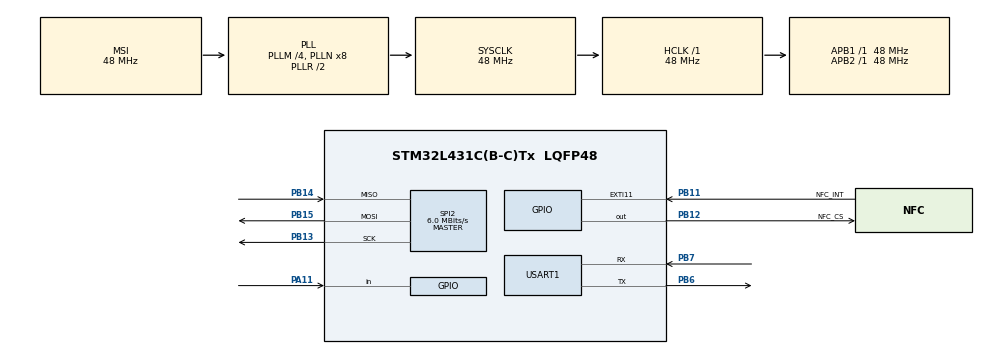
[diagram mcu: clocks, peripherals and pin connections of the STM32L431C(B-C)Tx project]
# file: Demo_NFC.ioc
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Mcu.Family=STM32L4
Mcu.Name=STM32L431C(B-C)Tx
Mcu.Package=LQFP48
NVIC.EXTI15_10_IRQn=true\:0\:0\:false\:false\:true\:true\:true\:true
NVIC.PriorityGroup=NVIC_PRIORITYGROUP_4
PA11.Signal=GPIO_Input
PA13\ (JTMS-SWDIO).Mode=Serial_Wire
PA13\ (JTMS-SWDIO).Signal=SYS_JTMS-SWDIO
PA14\ (JTCK-SWCLK).Mode=Serial_Wire
PA14\ (JTCK-SWCLK).Signal=SYS_JTCK-SWCLK
PB11.GPIO_Label=NFC_INT
PB11.GPIO_ModeDefaultEXTI=GPIO_MODE_IT_RISING
PB11.GPIO_PuPd=GPIO_PULLDOWN
PB11.Signal=GPXTI11
PB12.GPIO_Label=NFC_CS
PB12.PinState=GPIO_PIN_SET
PB12.Signal=GPIO_Output
PB13.Mode=Full_Duplex_Master
PB13.Signal=SPI2_SCK
PB14.Mode=Full_Duplex_Master
PB14.Signal=SPI2_MISO
PB15.Mode=Full_Duplex_Master
PB15.Signal=SPI2_MOSI
PB6.Mode=Asynchronous
PB6.Signal=USART1_TX
PB7.Mode=Asynchronous
PB7.Signal=USART1_RX
PC14-OSC32_IN\ (PC14).Mode=LSE-External-Oscillator
PC14-OSC32_IN\ (PC14).Signal=RCC_OSC32_IN
PC15-OSC32_OUT\ (PC15).Mode=LSE-External-Oscillator
PC15-OSC32_OUT\ (PC15).Signal=RCC_OSC32_OUT
ProjectManager.HeapSize=0x200
ProjectManager.StackSize=0x400
ProjectManager.TargetToolchain=STM32CubeIDE
RCC.ADCFreq_Value=48000000
RCC.AHBFreq_Value=48000000
RCC.APB1Freq_Value=48000000
RCC.APB1TimFreq_Value=48000000
RCC.APB2Freq_Value=48000000
RCC.APB2TimFreq_Value=48000000
RCC.CortexFreq_Value=48000000
RCC.HCLKFreq_Value=48000000
RCC.HSE_VALUE=8000000
RCC.HSI48_VALUE=48000000
RCC.HSI_VALUE=16000000
RCC.MSIClockRange=RCC_MSIRANGE_11
RCC.MSI_VALUE=48000000
RCC.PLLM=4
RCC.SYSCLKFreq_VALUE=48000000
RCC.SYSCLKSource=RCC_SYSCLKSOURCE_PLLCLK
RCC.VCOOutputFreq_Value=96000000
SPI2.BaudRatePrescaler=SPI_BAUDRATEPRESCALER_8
SPI2.CLKPhase=SPI_PHASE_2EDGE
SPI2.CalculateBaudRate=6.0 MBits/s
SPI2.DataSize=SPI_DATASIZE_8BIT
SPI2.Direction=SPI_DIRECTION_2LINES
SPI2.Mode=SPI_MODE_MASTER
SPI2.VirtualType=VM_MASTER
USART1.VirtualMode-Asynchronous=VM_ASYNC
VP_SYS_VS_LPOM.Mode=PowerOptimisation
board=custom

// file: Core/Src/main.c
/* USER CODE BEGIN Header */
/**
 ******************************************************************************
 * @file           : main.c
 * @brief          : Main program body
 ******************************************************************************
 * @attention
 *
 * Copyright (c) 2024 STMicroelectronics.
 * All rights reserved.
 *
 * This software is licensed under terms that can be found in the LICENSE file
 * in the root directory of this software component.
 * If no LICENSE file comes with this software, it is provided AS-IS.
 *
 ******************************************************************************
 */
/* USER CODE END Header */
#include "main.h"
#include "spi.h"
#include "usart.h"
#include "gpio.h"

/* USER CODE BEGIN Includes */
#include "Tracelog/TraceLog.h"
#include "string.h"

#include "st_errno.h"
#include "rfal_nfc.h"
#include "demo.h"
#include "spi_port.h"

#include "stm32l4xx_ll_pwr.h"
/* USER CODE END Includes */

void SystemClock_Config(void);

/* USER CODE BEGIN 0 */
uint8_t globalCommProtectCnt = 0;
static const char *TAG = "NFC";
uint32_t x = 0;
static void tracelog(char *str) {
	HAL_UART_Transmit(&huart1, (uint8_t*) str, strlen(str), 1000);
}
/* USER CODE END 0 */

int main(void) {

	/* MCU Configuration--------------------------------------------------------*/

	/* Reset of all peripherals, Initializes the Flash interface and the Systick. */
	HAL_Init();

	/* Configure the system clock */
	SystemClock_Config();

	/* Initialize all configured peripherals */
	MX_GPIO_Init();
	MX_SPI2_Init();
	MX_USART1_UART_Init();
	/* USER CODE BEGIN 2 */
	__HAL_RCC_WAKEUPSTOP_CLK_CONFIG(RCC_STOP_WAKEUPCLOCK_MSI);

	log_monitor_init(tracelog);
	LOG_INFO(TAG, "App startup.");
	spiInit(&hspi2);
	HAL_Delay(2000);
	/* USER CODE END 2 */

	/* Infinite loop */
	while (1) {

		/* USER CODE BEGIN 3 */
		demoIni();
		demoCycle();
		demoCycle();

//		LOG_INFO(TAG, "Enter stop mode.");
		LL_PWR_ClearFlag_SB();
		LL_PWR_ClearFlag_WU();
		HAL_SuspendTick();
		HAL_PWREx_EnterSTOP2Mode(PWR_STOPENTRY_WFI);
		HAL_ResumeTick();
//		LOG_INFO(TAG, "Exit stop mode.");

		uint8_t i = 0;
		while (!demoCycle() && i < 20)
			i++;

	}
	/* USER CODE END 3 */
}

void SystemClock_Config(void) {
	RCC_OscInitTypeDef RCC_OscInitStruct = { 0 };
	RCC_ClkInitTypeDef RCC_ClkInitStruct = { 0 };

	/** Configure the main internal regulator output voltage
	 */
	if (HAL_PWREx_ControlVoltageScaling(PWR_REGULATOR_VOLTAGE_SCALE1)
			!= HAL_OK) {
		Error_Handler();
	}

	/** Configure LSE Drive Capability
	 */
	HAL_PWR_EnableBkUpAccess();
	__HAL_RCC_LSEDRIVE_CONFIG(RCC_LSEDRIVE_LOW);

	/** Initializes the RCC Oscillators according to the specified parameters
	 * in the RCC_OscInitTypeDef structure.
	 */
	RCC_OscInitStruct.OscillatorType = RCC_OSCILLATORTYPE_LSE
			| RCC_OSCILLATORTYPE_MSI;
	RCC_OscInitStruct.LSEState = RCC_LSE_ON;
	RCC_OscInitStruct.MSIState = RCC_MSI_ON;
	RCC_OscInitStruct.MSICalibrationValue = 0;
	RCC_OscInitStruct.MSIClockRange = RCC_MSIRANGE_11;
	RCC_OscInitStruct.PLL.PLLState = RCC_PLL_ON;
	RCC_OscInitStruct.PLL.PLLSource = RCC_PLLSOURCE_MSI;
	RCC_OscInitStruct.PLL.PLLM = 4;
	RCC_OscInitStruct.PLL.PLLN = 8;
	RCC_OscInitStruct.PLL.PLLP = RCC_PLLP_DIV7;
	RCC_OscInitStruct.PLL.PLLQ = RCC_PLLQ_DIV2;
	RCC_OscInitStruct.PLL.PLLR = RCC_PLLR_DIV2;
	if (HAL_RCC_OscConfig(&RCC_OscInitStruct) != HAL_OK) {
		Error_Handler();
	}

	/** Initializes the CPU, AHB and APB buses clocks
	 */
	RCC_ClkInitStruct.ClockType = RCC_CLOCKTYPE_HCLK | RCC_CLOCKTYPE_SYSCLK
			| RCC_CLOCKTYPE_PCLK1 | RCC_CLOCKTYPE_PCLK2;
	RCC_ClkInitStruct.SYSCLKSource = RCC_SYSCLKSOURCE_PLLCLK;
	RCC_ClkInitStruct.AHBCLKDivider = RCC_SYSCLK_DIV1;
	RCC_ClkInitStruct.APB1CLKDivider = RCC_HCLK_DIV1;
	RCC_ClkInitStruct.APB2CLKDivider = RCC_HCLK_DIV1;

	if (HAL_RCC_ClockConfig(&RCC_ClkInitStruct, FLASH_LATENCY_2) != HAL_OK) {
		Error_Handler();
	}

	/** Enable MSI Auto calibration
	 */
	HAL_RCCEx_EnableMSIPLLMode();
}

void Error_Handler(void) {
	/* USER CODE BEGIN Error_Handler_Debug */
	LOG_ERROR(TAG, "Error handler.");
	/* User can add his own implementation to report the HAL error return state */
	__disable_irq();
	while (1) {
	}
	/* USER CODE END Error_Handler_Debug */
}
